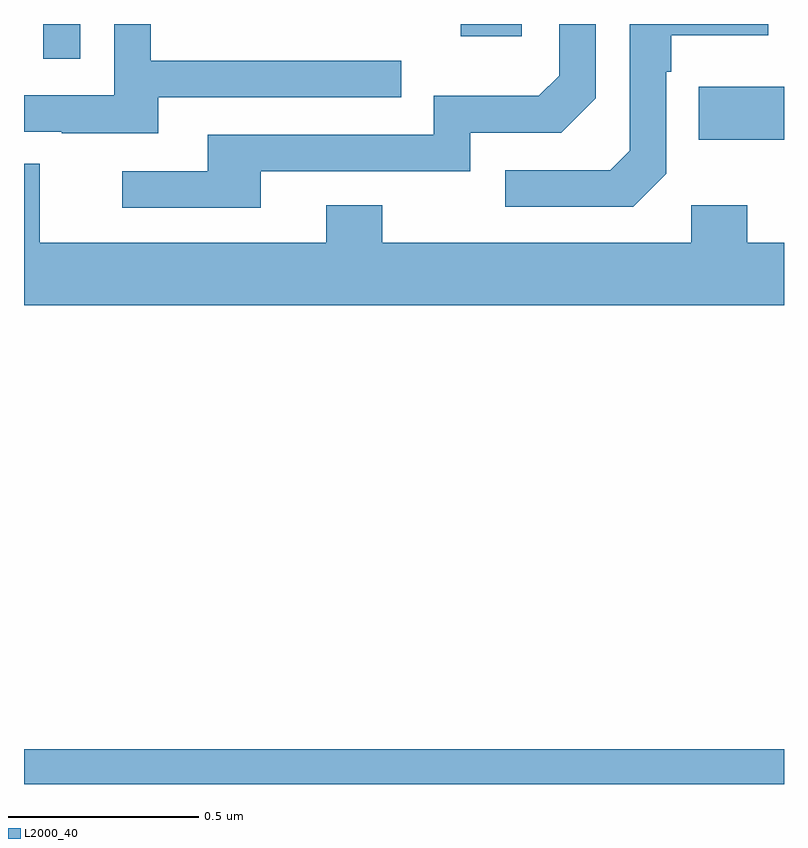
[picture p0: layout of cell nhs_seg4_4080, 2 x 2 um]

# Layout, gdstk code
import gdstk
lib = gdstk.Library(unit=1e-6, precision=1e-09)
def R(c, l, rs):  # rectangles x0, y0, x1, y1
    for r in rs: c.add(gdstk.rectangle(r[:2], r[2:], *l))
def P(c, l, *ps):  # polygons
    for p in ps: c.add(gdstk.Polygon(p, *l))
L2000_40 = (2000, 40)

nhs_seg4_4080 = lib.new_cell('nhs_seg4_4080')
R(nhs_seg4_4080, L2000_40, [(161,788.9,163,788.992), (162.775,790.595,163,790.735), (161.051,790.809,161.148,790.9), (162.149,790.868,162.31,790.9)])
P(nhs_seg4_4080, L2000_40, [(161.623,790.512),(162.174,790.512),(162.174,790.614),(162.414,790.614),(162.504,790.704),(162.504,790.9),(162.408,790.9),(162.408,790.764),(162.355,790.711),(162.078,790.711),(162.078,790.608),(161.483,790.608),(161.483,790.512),(161.259,790.512),(161.259,790.416),(161.623,790.416)],
  [(161.353,790.707),(161.993,790.707),(161.993,790.803),(161.334,790.803),(161.334,790.9),(161.238,790.9),(161.238,790.713),(161,790.713),(161,790.617),(161.099,790.617),(161.099,790.613),(161.353,790.613)],
  [(162.69,790.506),(162.69,790.775),(162.703,790.775),(162.703,790.871),(162.959,790.871),(162.959,790.9),(162.594,790.9),(162.594,790.566),(162.543,790.515),(162.267,790.515),(162.267,790.419),(162.603,790.419)],
  [(163,790.324),(162.903,790.324),(162.903,790.423),(162.756,790.423),(162.756,790.324),(161.943,790.324),(161.943,790.423),(161.795,790.423),(161.795,790.324),(161.041,790.324),(161.041,790.532),(161,790.532),(161,790.16),(163,790.16)])

lib.write_gds('nhs_seg4_4080.gds')
